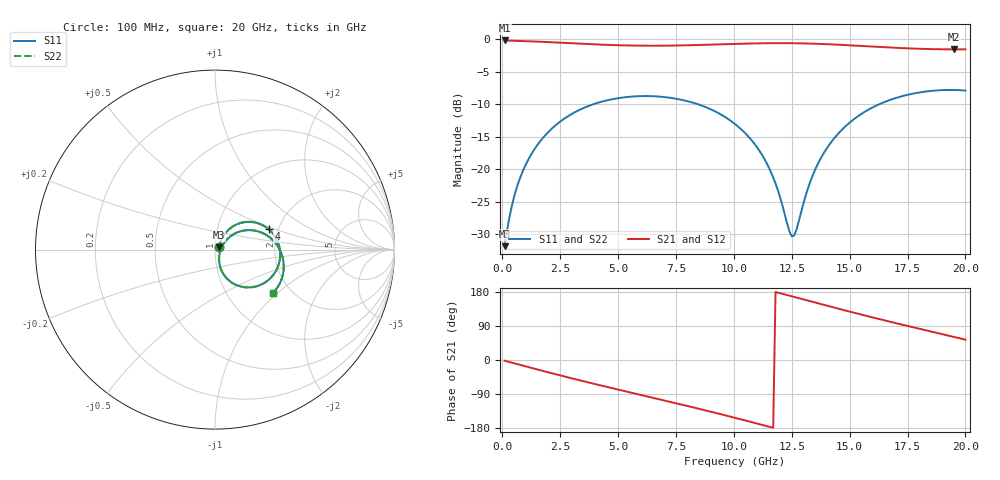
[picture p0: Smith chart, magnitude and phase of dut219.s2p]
! Touchstone file exported from HFSS 2026.1.0
!  File:  C:/ffzhzh/LocalFiles/Ansys_Project_Files/temp_train_TSV_RDL_219_1783062782_18316.aedt
!  Generated:  03:21:53 PM Jul  3, 2026
!  Design:  TSV_RDL
!  Project:  temp_train_TSV_RDL_219_1783062782_18316
! Variables:
!  h_bsmrdl = 4.31um
!  h_ox = 20um
!  h_rdl = 5um
!  h_sub = 51.69um
!  h_tmrdl = 4.05um
!  h_tsv = 51.69um
!  h_via = 3um
!  l_bsmrdl = 809.9um
!  l_sub = 5265.36um
!  l_tmrdl = 576.44um
!  m_sub = 200um
!  pitch = 36.76um
!  r_tsv = 12.34um
!  s_tmrdl = 10um
!  w_bsmrdl = 13.84um
!  w_sub = 500um
!  w_tmrdl = 29.46um
!  x_tsv_center1 = 591.17um
!  x_tsv_center2 = 1414.91um
!  x_tsv_center3 = 2020.81um
!  x_tsv_center4 = 2844.55um
!  x_tsv_center5 = 3450.45um
!  x_tsv_center6 = 4274.19um
# GHz S MA R 50.000000
! Terminal data exported
! Port[1] = TM_RDL1_1_T1
! Port[2] = TM_RDL5_1_T1
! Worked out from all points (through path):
!   200 points, 100 MHz to 20 GHz, reference 50 ohm
!   highest |S21| = -0.20 dB at 100 MHz (marker M1); lowest = -1.6 dB at 19.5 GHz (marker M2)
!   group delay of S21, straight-line fit = 42.6 ps
!   lowest |S11| = -31.8 dB at 100 MHz (marker M3), VSWR 1.05, Z = 52.3 + j1.24 ohm
!   |S11| at or under -10 dB: start of sweep to 3.934 GHz; 8.447 GHz to 16.28 GHz (7.834 GHz wide, 63.4 % of centre)
!   |S22| runs from -31.8 to -7.8 dB; largest |S21 - S12| = 1.6e-14
!   S11 on the Smith chart (normalised r, x): 100 MHz: 1.05, +0.02; 4 GHz: 1.78, +0.45; 20 GHz: 1.62, -0.93
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0.1  0.02565 27.5  0.9776 -1.8  0.9776 -1.8  0.02565 27.5
! Gamma 0 0 0 0
! Port Impedance 50 0 50 0
0.3  0.042 49.0  0.974 -5.2  0.974 -5.2  0.04201 49.0
0.6  0.07 57.3  0.9699 -10.1  0.9699 -10.1  0.06999 57.3
1.2  0.1256 56.5  0.9625 -19.9  0.9625 -19.9  0.1256 56.5
2.2  0.2102 45.5  0.9458 -35.9  0.9458 -35.9  0.2102 45.5
3.5  0.2952 27.8  0.9207 -56.0  0.9207 -56.0  0.2952 27.8
4  0.3191 20.9  0.912 -63.4  0.912 -63.4  0.3192 20.9
5.4  0.3596 1.8  0.8948 -83.8  0.8948 -83.8  0.3596 1.8
6.8  0.3618 -17.1  0.8908 -103.9  0.8908 -103.9  0.3618 -17.1
8.5  0.3139 -39.9  0.9022 -128.8  0.9022 -128.8  0.3139 -40.0
10.1  0.2193 -60.8  0.9205 -153.3  0.9205 -153.3  0.2192 -60.9
10.9  0.1562 -69.7  0.928 -166.0  0.928 -166.0  0.1561 -69.9
11.5  0.1042 -73.2  0.9314 -175.7  0.9314 -175.7  0.1041 -73.5
12.5  0.03059 -23.1  0.9311 168.0  0.9311 168.0  0.03012 -23.3
12.7  0.03413 8.5  0.9301 164.7  0.9301 164.7  0.03368 8.8
13.4  0.08919 40.4  0.9238 153.3  0.9238 153.3  0.08899 40.7
14  0.1436 38.8  0.9155 143.6  0.9155 143.6  0.1435 39.0
14.7  0.2041 31.8  0.9032 132.4  0.9032 132.4  0.2041 32.0
16.7  0.339 6.2  0.8634 101.7  0.8634 101.7  0.3389 6.3
18.1  0.3916 -12.2  0.8426 81.1  0.8426 81.1  0.3916 -12.2
19.5  0.4071 -30.5  0.8348 60.9  0.8348 60.9  0.4071 -30.5
20  0.4028 -37.0  0.8356 53.6  0.8356 53.6  0.4028 -37.0
